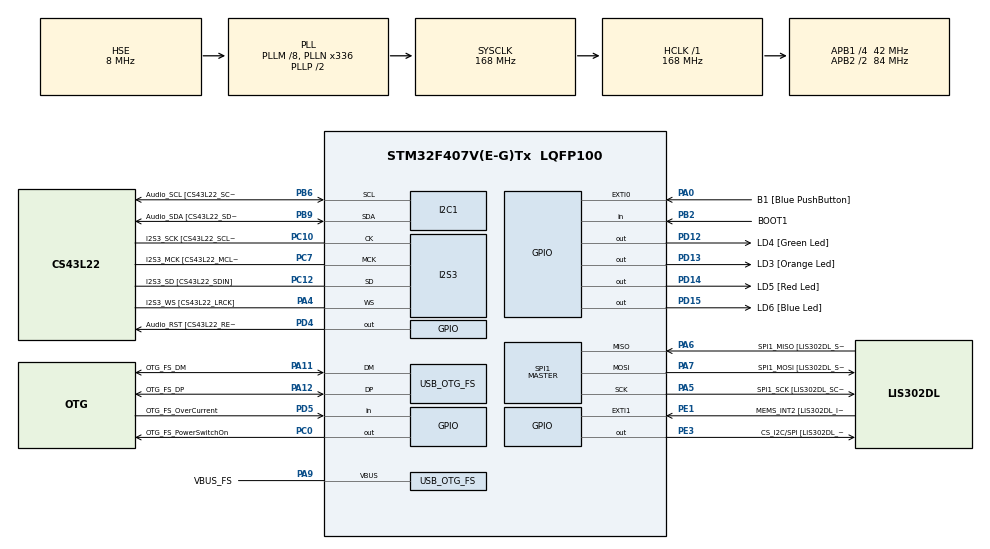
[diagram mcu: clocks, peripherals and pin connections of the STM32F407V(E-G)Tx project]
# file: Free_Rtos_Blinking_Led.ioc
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I2S3.AudioFreq-Half_Duplex_Master=I2S_AUDIOFREQ_96K
I2S3.ErrorAudioFreq=-2.34 %
I2S3.ErrorAudioFreq-Half_Duplex_Master=0.8 %
I2S3.FullDuplexMode=I2S_FULLDUPLEXMODE_DISABLE
I2S3.Instance=SPI$Index
I2S3.RealAudioFreq=93.75 KHz
I2S3.RealAudioFreq-Half_Duplex_Master=96.774 KHz
I2S3.VirtualMode=I2S_MODE_MASTER
Mcu.Family=STM32F4
Mcu.Name=STM32F407V(E-G)Tx
Mcu.Package=LQFP100
NVIC.OTG_FS_IRQn=true\:0\:0\:false\:false\:true\:true\:true\:true
NVIC.PriorityGroup=NVIC_PRIORITYGROUP_4
NVIC.TIM6_DAC_IRQn=true\:0\:0\:false\:false\:true\:false\:true\:true
NVIC.TimeBase=TIM6_DAC_IRQn
NVIC.TimeBaseIP=TIM6
PA0-WKUP.GPIO_Label=B1 [Blue PushButton]
PA0-WKUP.GPIO_ModeDefaultEXTI=GPIO_MODE_EVT_RISING
PA0-WKUP.GPIO_PuPd=GPIO_NOPULL
PA0-WKUP.Signal=GPXTI0
PA10.GPIO_Label=OTG_FS_ID
PA10.GPIO_Mode=GPIO_MODE_AF_PP
PA10.GPIO_PuPd=GPIO_NOPULL
PA10.GPIO_Speed=GPIO_SPEED_FREQ_LOW
PA10.Signal=USB_OTG_FS_ID
PA11.GPIO_Label=OTG_FS_DM
PA11.GPIO_Mode=GPIO_MODE_AF_PP
PA11.GPIO_PuPd=GPIO_NOPULL
PA11.GPIO_Speed=GPIO_SPEED_FREQ_LOW
PA11.Mode=Host_Only
PA11.Signal=USB_OTG_FS_DM
PA12.GPIO_Label=OTG_FS_DP
PA12.GPIO_Mode=GPIO_MODE_AF_PP
PA12.GPIO_PuPd=GPIO_NOPULL
PA12.GPIO_Speed=GPIO_SPEED_FREQ_LOW
PA12.Mode=Host_Only
PA12.Signal=USB_OTG_FS_DP
PA13.GPIO_Label=SWDIO
PA13.Mode=Serial_Wire
PA13.Signal=SYS_JTMS-SWDIO
PA14.GPIO_Label=SWCLK
PA14.Mode=Serial_Wire
PA14.Signal=SYS_JTCK-SWCLK
PA4.GPIO_Label=I2S3_WS [CS43L22_LRCK]
PA4.GPIO_Mode=GPIO_MODE_AF_PP
PA4.GPIO_PuPd=GPIO_NOPULL
PA4.GPIO_Speed=GPIO_SPEED_FREQ_LOW
PA4.Mode=Half_Duplex_Master
PA4.Signal=I2S3_WS
PA5.GPIO_Label=SPI1_SCK [LIS302DL_SCL/SPC]
PA5.GPIO_Mode=GPIO_MODE_AF_PP
PA5.GPIO_PuPd=GPIO_NOPULL
PA5.GPIO_Speed=GPIO_SPEED_FREQ_LOW
PA5.Mode=Full_Duplex_Master
PA5.Signal=SPI1_SCK
PA6.GPIO_Label=SPI1_MISO [LIS302DL_SDO]
PA6.GPIO_Mode=GPIO_MODE_AF_PP
PA6.GPIO_PuPd=GPIO_NOPULL
PA6.GPIO_Speed=GPIO_SPEED_FREQ_LOW
PA6.Mode=Full_Duplex_Master
PA6.Signal=SPI1_MISO
PA7.GPIO_Label=SPI1_MOSI [LIS302DL_SDA/SDI/SDO]
PA7.GPIO_Mode=GPIO_MODE_AF_PP
PA7.GPIO_PuPd=GPIO_NOPULL
PA7.GPIO_Speed=GPIO_SPEED_FREQ_LOW
PA7.Mode=Full_Duplex_Master
PA7.Signal=SPI1_MOSI
PA9.GPIO_Label=VBUS_FS
PA9.GPIO_Mode=GPIO_MODE_INPUT
PA9.GPIO_PuPd=GPIO_NOPULL
PA9.Mode=Activate_VBUS
PA9.Signal=USB_OTG_FS_VBUS
PB10.GPIO_Label=CLK_IN [MP45DT02_CLK]
PB10.GPIO_Mode=GPIO_MODE_AF_PP
PB10.GPIO_PuPd=GPIO_NOPULL
PB10.GPIO_Speed=GPIO_SPEED_FREQ_LOW
PB10.Signal=I2S2_CK
PB2.GPIO_Label=BOOT1
PB2.GPIO_Mode=GPIO_MODE_INPUT
PB2.GPIO_PuPd=GPIO_NOPULL
PB2.Signal=GPIO_Input
PB3.GPIO_Label=SWO
PB3.Signal=SYS_JTDO-SWO
PB6.GPIO_Label=Audio_SCL [CS43L22_SCL]
PB6.GPIO_Mode=GPIO_MODE_AF_OD
PB6.GPIO_Pu=GPIO_PULLUP
PB6.GPIO_PuPd=GPIO_NOPULL
PB6.GPIO_Speed=GPIO_SPEED_FREQ_LOW
PB6.Mode=I2C
PB6.Signal=I2C1_SCL
PB9.GPIO_Label=Audio_SDA [CS43L22_SDA]
PB9.GPIO_Mode=GPIO_MODE_AF_OD
PB9.GPIO_Pu=GPIO_PULLUP
PB9.GPIO_PuPd=GPIO_NOPULL
PB9.GPIO_Speed=GPIO_SPEED_FREQ_LOW
PB9.Mode=I2C
PB9.Signal=I2C1_SDA
PC0.GPIO_Label=OTG_FS_PowerSwitchOn
PC0.GPIO_PuPd=GPIO_NOPULL
PC0.GPIO_Speed=GPIO_SPEED_FREQ_LOW
PC0.PinState=GPIO_PIN_SET
PC0.Signal=GPIO_Output
PC10.GPIO_Label=I2S3_SCK [CS43L22_SCLK]
PC10.GPIO_Mode=GPIO_MODE_AF_PP
PC10.GPIO_PuPd=GPIO_NOPULL
PC10.GPIO_Speed=GPIO_SPEED_FREQ_LOW
PC10.Mode=Half_Duplex_Master
PC10.Signal=I2S3_CK
PC12.GPIO_Label=I2S3_SD [CS43L22_SDIN]
PC12.GPIO_Mode=GPIO_MODE_AF_PP
PC12.GPIO_PuPd=GPIO_NOPULL
PC12.GPIO_Speed=GPIO_SPEED_FREQ_LOW
PC12.Mode=Half_Duplex_Master
PC12.Signal=I2S3_SD
PC14-OSC32_IN.GPIO_Label=PC14-OSC32_IN
PC14-OSC32_IN.Mode=LSE-External-Oscillator
PC14-OSC32_IN.Signal=RCC_OSC32_IN
PC15-OSC32_OUT.GPIO_Label=PC15-OSC32_OUT
PC15-OSC32_OUT.Mode=LSE-External-Oscillator
PC15-OSC32_OUT.Signal=RCC_OSC32_OUT
PC3.GPIO_Label=PDM_OUT [MP45DT02_DOUT]
PC3.GPIO_Mode=GPIO_MODE_AF_PP
PC3.GPIO_PuPd=GPIO_NOPULL
PC3.GPIO_Speed=GPIO_SPEED_FREQ_LOW
PC3.Signal=I2S2_SD
PC7.GPIO_Label=I2S3_MCK [CS43L22_MCLK]
PC7.GPIO_Mode=GPIO_MODE_AF_PP
PC7.GPIO_PuPd=GPIO_NOPULL
PC7.GPIO_Speed=GPIO_SPEED_FREQ_LOW
PC7.Mode=Master_Clock_Activated
PC7.Signal=I2S3_MCK
PD12.GPIO_Label=LD4 [Green Led]
PD12.GPIO_PuPd=GPIO_NOPULL
PD12.GPIO_Speed=GPIO_SPEED_FREQ_LOW
PD12.Signal=GPIO_Output
PD13.GPIO_Label=LD3 [Orange Led]
PD13.GPIO_PuPd=GPIO_NOPULL
PD13.GPIO_Speed=GPIO_SPEED_FREQ_LOW
PD13.Signal=GPIO_Output
PD14.GPIO_Label=LD5 [Red Led]
PD14.GPIO_PuPd=GPIO_NOPULL
PD14.GPIO_Speed=GPIO_SPEED_FREQ_LOW
PD14.Signal=GPIO_Output
PD15.GPIO_Label=LD6 [Blue Led]
PD15.GPIO_PuPd=GPIO_NOPULL
PD15.GPIO_Speed=GPIO_SPEED_FREQ_LOW
PD15.Signal=GPIO_Output
PD4.GPIO_Label=Audio_RST [CS43L22_RESET]
PD4.GPIO_PuPd=GPIO_NOPULL
PD4.GPIO_Speed=GPIO_SPEED_FREQ_LOW
PD4.Signal=GPIO_Output
PD5.GPIO_Label=OTG_FS_OverCurrent
PD5.GPIO_Mode=GPIO_MODE_INPUT
PD5.GPIO_PuPd=GPIO_NOPULL
PD5.Signal=GPIO_Input
PE1.GPIO_Label=MEMS_INT2 [LIS302DL_INT2]
PE1.GPIO_ModeDefaultEXTI=GPIO_MODE_EVT_RISING
PE1.GPIO_PuPd=GPIO_NOPULL
PE1.Signal=GPXTI1
PE3.GPIO_Label=CS_I2C/SPI [LIS302DL_CS_I2C/SPI]
PE3.GPIO_PuPd=GPIO_NOPULL
PE3.GPIO_Speed=GPIO_SPEED_FREQ_LOW
PE3.Signal=GPIO_Output
PH0-OSC_IN.GPIO_Label=PH0-OSC_IN
PH0-OSC_IN.Mode=HSE-External-Oscillator
PH0-OSC_IN.Signal=RCC_OSC_IN
PH1-OSC_OUT.GPIO_Label=PH1-OSC_OUT
PH1-OSC_OUT.Mode=HSE-External-Oscillator
PH1-OSC_OUT.Signal=RCC_OSC_OUT
ProjectManager.HeapSize=0x200
ProjectManager.StackSize=0x400
ProjectManager.TargetToolchain=STM32CubeIDE
RCC.48MHZClocksFreq_Value=48000000
RCC.AHBFreq_Value=168000000
RCC.APB1CLKDivider=RCC_HCLK_DIV4
RCC.APB1Freq_Value=42000000
RCC.APB1TimFreq_Value=84000000
RCC.APB2CLKDivider=RCC_HCLK_DIV2
RCC.APB2Freq_Value=84000000
RCC.APB2TimFreq_Value=168000000
RCC.CortexFreq_Value=168000000
RCC.HCLKFreq_Value=168000000
RCC.HSE_VALUE=8000000
RCC.HSI_VALUE=16000000
RCC.PLLM=8
RCC.PLLN=336
RCC.PLLQ=7
RCC.SYSCLKFreq_VALUE=168000000
RCC.SYSCLKSource=RCC_SYSCLKSOURCE_PLLCLK
RCC.VCOOutputFreq_Value=336000000
SPI1.BaudRatePrescaler-Full_Duplex_Master=SPI_BAUDRATEPRESCALER_2
SPI1.CalculateBaudRate-Full_Duplex_Master=42.0 MBits/s
SPI1.Direction=SPI_DIRECTION_2LINES
SPI1.Mode=SPI_MODE_MASTER
SPI1.Mode-Full_Duplex_Master=SPI_MODE_MASTER
SPI1.VirtualType=VM_MASTER
USB_HOST.BSP.number=1
USB_HOST.USBH_HandleTypeDef-CDC_FS=hUsbHostFS
USB_HOST.VirtualModeFS=Cdc
USB_HOST0.BSP.STBoard=false
USB_HOST0.BSP.api=Unknown
USB_HOST0.BSP.instance=PC0
USB_HOST0.BSP.ip=GPIO
USB_HOST0.BSP.mode=Output
USB_HOST0.BSP.name=Drive_VBUS_FS
USB_HOST0.BSP.solution=PC0
USB_OTG_FS.VirtualMode=Host_Only
USB_OTG_FS.phy_itface=HCD_PHY_EMBEDDED
VP_SYS_VS_tim6.Mode=TIM6
VP_USB_HOST_VS_USB_HOST_CDC_FS.Mode=CDC_FS
board=STM32F407G-DISC1

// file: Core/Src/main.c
/* USER CODE BEGIN Header */
/**
  ******************************************************************************
  * @file           : main.c
  * @brief          : Main program body
  ******************************************************************************
  * @attention
  *
  * Copyright (c) 2026 STMicroelectronics.
  * All rights reserved.
  *
  * This software is licensed under terms that can be found in the LICENSE file
  * in the root directory of this software component.
  * If no LICENSE file comes with this software, it is provided AS-IS.
  *
  ******************************************************************************
  */
/* USER CODE END Header */
#include "main.h"
#include "usb_host.h"

/* USER CODE BEGIN Includes */
#include  "FreeRTOS.h"
#include  "task.h"
/* USER CODE END Includes */

I2C_HandleTypeDef hi2c1;

I2S_HandleTypeDef hi2s3;

SPI_HandleTypeDef hspi1;

void SystemClock_Config(void);
static void MX_GPIO_Init(void);
static void MX_I2C1_Init(void);
static void MX_I2S3_Init(void);
static void MX_SPI1_Init(void);
void MX_USB_HOST_Process(void);

/* USER CODE BEGIN PFP */
static void GreenLedTask(void *pvParameters);
static void OrangeLedTask(void *pvParameters);
/* USER CODE END PFP */

int main(void)
{

  /* USER CODE BEGIN 1 */
	BaseType_t  status;
  /* USER CODE END 1 */

  /* MCU Configuration--------------------------------------------------------*/

  /* Reset of all peripherals, Initializes the Flash interface and the Systick. */
  HAL_Init();

  /* Configure the system clock */
  SystemClock_Config();

  /* Initialize all configured peripherals */
  MX_GPIO_Init();
  MX_I2C1_Init();
  MX_I2S3_Init();
  MX_SPI1_Init();
  MX_USB_HOST_Init();
  /* USER CODE BEGIN 2 */
  status=xTaskCreate(GreenLedTask,"Green",256,NULL,2,NULL);
  configASSERT(status==pdPASS);

  status=xTaskCreate(OrangeLedTask,"Orange",256,NULL,2,NULL);
  configASSERT(status==pdPASS);

  vTaskStartScheduler();

  /* USER CODE END 2 */

  /* Infinite loop */
  while (1)
  {
    MX_USB_HOST_Process();

  }
}

void SystemClock_Config(void)
{
  RCC_OscInitTypeDef RCC_OscInitStruct = {0};
  RCC_ClkInitTypeDef RCC_ClkInitStruct = {0};

  /** Configure the main internal regulator output voltage
  */
  __HAL_RCC_PWR_CLK_ENABLE();
  __HAL_PWR_VOLTAGESCALING_CONFIG(PWR_REGULATOR_VOLTAGE_SCALE1);

  /** Initializes the RCC Oscillators according to the specified parameters
  * in the RCC_OscInitTypeDef structure.
  */
  RCC_OscInitStruct.OscillatorType = RCC_OSCILLATORTYPE_HSE;
  RCC_OscInitStruct.HSEState = RCC_HSE_ON;
  RCC_OscInitStruct.PLL.PLLState = RCC_PLL_ON;
  RCC_OscInitStruct.PLL.PLLSource = RCC_PLLSOURCE_HSE;
  RCC_OscInitStruct.PLL.PLLM = 8;
  RCC_OscInitStruct.PLL.PLLN = 336;
  RCC_OscInitStruct.PLL.PLLP = RCC_PLLP_DIV2;
  RCC_OscInitStruct.PLL.PLLQ = 7;
  if (HAL_RCC_OscConfig(&RCC_OscInitStruct) != HAL_OK)
  {
    Error_Handler();
  }

  /** Initializes the CPU, AHB and APB buses clocks
  */
  RCC_ClkInitStruct.ClockType = RCC_CLOCKTYPE_HCLK|RCC_CLOCKTYPE_SYSCLK
                              |RCC_CLOCKTYPE_PCLK1|RCC_CLOCKTYPE_PCLK2;
  RCC_ClkInitStruct.SYSCLKSource = RCC_SYSCLKSOURCE_PLLCLK;
  RCC_ClkInitStruct.AHBCLKDivider = RCC_SYSCLK_DIV1;
  RCC_ClkInitStruct.APB1CLKDivider = RCC_HCLK_DIV4;
  RCC_ClkInitStruct.APB2CLKDivider = RCC_HCLK_DIV2;

  if (HAL_RCC_ClockConfig(&RCC_ClkInitStruct, FLASH_LATENCY_5) != HAL_OK)
  {
    Error_Handler();
  }
}

static void MX_I2C1_Init(void)
{

  hi2c1.Instance = I2C1;
  hi2c1.Init.ClockSpeed = 100000;
  hi2c1.Init.DutyCycle = I2C_DUTYCYCLE_2;
  hi2c1.Init.OwnAddress1 = 0;
  hi2c1.Init.AddressingMode = I2C_ADDRESSINGMODE_7BIT;
  hi2c1.Init.DualAddressMode = I2C_DUALADDRESS_DISABLE;
  hi2c1.Init.OwnAddress2 = 0;
  hi2c1.Init.GeneralCallMode = I2C_GENERALCALL_DISABLE;
  hi2c1.Init.NoStretchMode = I2C_NOSTRETCH_DISABLE;
  if (HAL_I2C_Init(&hi2c1) != HAL_OK)
  {
    Error_Handler();
  }

}

static void MX_I2S3_Init(void)
{

  hi2s3.Instance = SPI3;
  hi2s3.Init.Mode = I2S_MODE_MASTER_TX;
  hi2s3.Init.Standard = I2S_STANDARD_PHILIPS;
  hi2s3.Init.DataFormat = I2S_DATAFORMAT_16B;
  hi2s3.Init.MCLKOutput = I2S_MCLKOUTPUT_ENABLE;
  hi2s3.Init.AudioFreq = I2S_AUDIOFREQ_96K;
  hi2s3.Init.CPOL = I2S_CPOL_LOW;
  hi2s3.Init.ClockSource = I2S_CLOCK_PLL;
  hi2s3.Init.FullDuplexMode = I2S_FULLDUPLEXMODE_DISABLE;
  if (HAL_I2S_Init(&hi2s3) != HAL_OK)
  {
    Error_Handler();
  }

}

static void MX_SPI1_Init(void)
{

  /* SPI1 parameter configuration*/
  hspi1.Instance = SPI1;
  hspi1.Init.Mode = SPI_MODE_MASTER;
  hspi1.Init.Direction = SPI_DIRECTION_2LINES;
  hspi1.Init.DataSize = SPI_DATASIZE_8BIT;
  hspi1.Init.CLKPolarity = SPI_POLARITY_LOW;
  hspi1.Init.CLKPhase = SPI_PHASE_1EDGE;
  hspi1.Init.NSS = SPI_NSS_SOFT;
  hspi1.Init.BaudRatePrescaler = SPI_BAUDRATEPRESCALER_2;
  hspi1.Init.FirstBit = SPI_FIRSTBIT_MSB;
  hspi1.Init.TIMode = SPI_TIMODE_DISABLE;
  hspi1.Init.CRCCalculation = SPI_CRCCALCULATION_DISABLE;
  hspi1.Init.CRCPolynomial = 10;
  if (HAL_SPI_Init(&hspi1) != HAL_OK)
  {
    Error_Handler();
  }

}

static void MX_GPIO_Init(void)
{
  GPIO_InitTypeDef GPIO_InitStruct = {0};

  /* GPIO Ports Clock Enable */
  __HAL_RCC_GPIOE_CLK_ENABLE();
  __HAL_RCC_GPIOC_CLK_ENABLE();
  __HAL_RCC_GPIOH_CLK_ENABLE();
  __HAL_RCC_GPIOA_CLK_ENABLE();
  __HAL_RCC_GPIOB_CLK_ENABLE();
  __HAL_RCC_GPIOD_CLK_ENABLE();

  /*Configure GPIO pin Output Level */
  HAL_GPIO_WritePin(CS_I2C_SPI_GPIO_Port, CS_I2C_SPI_Pin, GPIO_PIN_RESET);

  /*Configure GPIO pin Output Level */
  HAL_GPIO_WritePin(OTG_FS_PowerSwitchOn_GPIO_Port, OTG_FS_PowerSwitchOn_Pin, GPIO_PIN_SET);

  /*Configure GPIO pin Output Level */
  HAL_GPIO_WritePin(GPIOD, LD4_Pin|LD3_Pin|LD5_Pin|LD6_Pin
                          |Audio_RST_Pin, GPIO_PIN_RESET);

  /*Configure GPIO pin : CS_I2C_SPI_Pin */
  GPIO_InitStruct.Pin = CS_I2C_SPI_Pin;
  GPIO_InitStruct.Mode = GPIO_MODE_OUTPUT_PP;
  GPIO_InitStruct.Pull = GPIO_NOPULL;
  GPIO_InitStruct.Speed = GPIO_SPEED_FREQ_LOW;
  HAL_GPIO_Init(CS_I2C_SPI_GPIO_Port, &GPIO_InitStruct);

  /*Configure GPIO pin : OTG_FS_PowerSwitchOn_Pin */
  GPIO_InitStruct.Pin = OTG_FS_PowerSwitchOn_Pin;
  GPIO_InitStruct.Mode = GPIO_MODE_OUTPUT_PP;
  GPIO_InitStruct.Pull = GPIO_NOPULL;
  GPIO_InitStruct.Speed = GPIO_SPEED_FREQ_LOW;
  HAL_GPIO_Init(OTG_FS_PowerSwitchOn_GPIO_Port, &GPIO_InitStruct);

  /*Configure GPIO pin : PDM_OUT_Pin */
  GPIO_InitStruct.Pin = PDM_OUT_Pin;
  GPIO_InitStruct.Mode = GPIO_MODE_AF_PP;
  GPIO_InitStruct.Pull = GPIO_NOPULL;
  GPIO_InitStruct.Speed = GPIO_SPEED_FREQ_LOW;
  GPIO_InitStruct.Alternate = GPIO_AF5_SPI2;
  HAL_GPIO_Init(PDM_OUT_GPIO_Port, &GPIO_InitStruct);

  /*Configure GPIO pin : B1_Pin */
  GPIO_InitStruct.Pin = B1_Pin;
  GPIO_InitStruct.Mode = GPIO_MODE_EVT_RISING;
  GPIO_InitStruct.Pull = GPIO_NOPULL;
  HAL_GPIO_Init(B1_GPIO_Port, &GPIO_InitStruct);

  /*Configure GPIO pin : BOOT1_Pin */
  GPIO_InitStruct.Pin = BOOT1_Pin;
  GPIO_InitStruct.Mode = GPIO_MODE_INPUT;
  GPIO_InitStruct.Pull = GPIO_NOPULL;
  HAL_GPIO_Init(BOOT1_GPIO_Port, &GPIO_InitStruct);

  /*Configure GPIO pin : CLK_IN_Pin */
  GPIO_InitStruct.Pin = CLK_IN_Pin;
  GPIO_InitStruct.Mode = GPIO_MODE_AF_PP;
  GPIO_InitStruct.Pull = GPIO_NOPULL;
  GPIO_InitStruct.Speed = GPIO_SPEED_FREQ_LOW;
  GPIO_InitStruct.Alternate = GPIO_AF5_SPI2;
  HAL_GPIO_Init(CLK_IN_GPIO_Port, &GPIO_InitStruct);

  /*Configure GPIO pins : LD4_Pin LD3_Pin LD5_Pin LD6_Pin
                           Audio_RST_Pin */
  GPIO_InitStruct.Pin = LD4_Pin|LD3_Pin|LD5_Pin|LD6_Pin
                          |Audio_RST_Pin;
  GPIO_InitStruct.Mode = GPIO_MODE_OUTPUT_PP;
  GPIO_InitStruct.Pull = GPIO_NOPULL;
  GPIO_InitStruct.Speed = GPIO_SPEED_FREQ_LOW;
  HAL_GPIO_Init(GPIOD, &GPIO_InitStruct);

  /*Configure GPIO pin : OTG_FS_OverCurrent_Pin */
  GPIO_InitStruct.Pin = OTG_FS_OverCurrent_Pin;
  GPIO_InitStruct.Mode = GPIO_MODE_INPUT;
  GPIO_InitStruct.Pull = GPIO_NOPULL;
  HAL_GPIO_Init(OTG_FS_OverCurrent_GPIO_Port, &GPIO_InitStruct);

  /*Configure GPIO pin : MEMS_INT2_Pin */
  GPIO_InitStruct.Pin = MEMS_INT2_Pin;
  GPIO_InitStruct.Mode = GPIO_MODE_EVT_RISING;
  GPIO_InitStruct.Pull = GPIO_NOPULL;
  HAL_GPIO_Init(MEMS_INT2_GPIO_Port, &GPIO_InitStruct);

}

/* USER CODE BEGIN 4 */

void GreenLedTask(void *pvParameters)
{
    while (1)
    {
        HAL_GPIO_TogglePin(GPIOD, GPIO_PIN_12);
        vTaskDelay(pdMS_TO_TICKS(500));
    }
}

void OrangeLedTask(void *pvParameters)
{
    while (1)
    {
        HAL_GPIO_TogglePin(GPIOD, GPIO_PIN_13);
        vTaskDelay(pdMS_TO_TICKS(200));
    }
}

/* USER CODE END 4 */

void HAL_TIM_PeriodElapsedCallback(TIM_HandleTypeDef *htim)
{
  if (htim->Instance == TIM6)
  {
    HAL_IncTick();
  }
}

void Error_Handler(void)
{
  __disable_irq();
  while (1)
  {
  }
}
